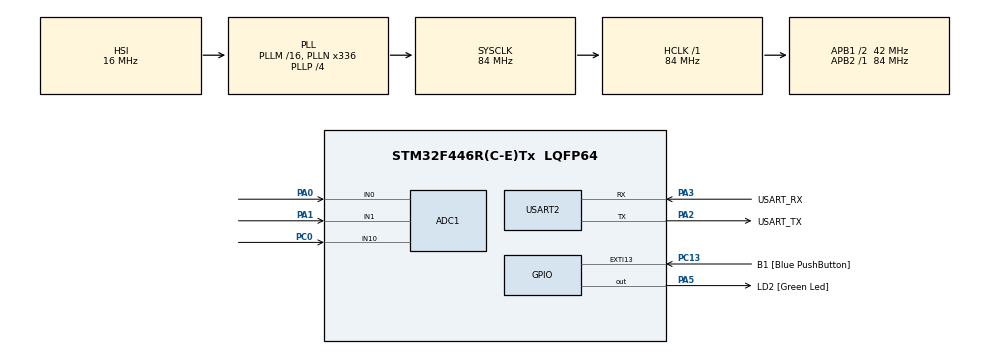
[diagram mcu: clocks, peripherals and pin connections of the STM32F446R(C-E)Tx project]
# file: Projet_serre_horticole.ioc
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ADC1.Channel-0\#ChannelRegularConversion=ADC_CHANNEL_0
ADC1.NbrOfConversionFlag=1
ADC1.Rank-0\#ChannelRegularConversion=1
ADC1.SamplingTime-0\#ChannelRegularConversion=ADC_SAMPLETIME_3CYCLES
ADC1.master=1
Mcu.Family=STM32F4
Mcu.Name=STM32F446R(C-E)Tx
Mcu.Package=LQFP64
NVIC.PriorityGroup=NVIC_PRIORITYGROUP_0
PA0-WKUP.Signal=ADCx_IN0
PA1.Signal=ADCx_IN1
PA13.GPIO_Label=TMS
PA13.Mode=Serial_Wire
PA13.Signal=SYS_JTMS-SWDIO
PA14.GPIO_Label=TCK
PA14.Mode=Serial_Wire
PA14.Signal=SYS_JTCK-SWCLK
PA2.GPIO_Label=USART_TX
PA2.Mode=Asynchronous
PA2.Signal=USART2_TX
PA3.GPIO_Label=USART_RX
PA3.Mode=Asynchronous
PA3.Signal=USART2_RX
PA5.GPIO_Label=LD2 [Green Led]
PA5.Signal=GPIO_Output
PB3.GPIO_Label=SWO
PB3.Signal=SYS_JTDO-SWO
PC0.Signal=ADCx_IN10
PC13.GPIO_Label=B1 [Blue PushButton]
PC13.GPIO_ModeDefaultEXTI=GPIO_MODE_IT_FALLING
PC13.Signal=GPXTI13
PC14-OSC32_IN.Mode=LSE-External-Oscillator
PC14-OSC32_IN.Signal=RCC_OSC32_IN
PC15-OSC32_OUT.Mode=LSE-External-Oscillator
PC15-OSC32_OUT.Signal=RCC_OSC32_OUT
PH0-OSC_IN.Mode=HSE-External-Oscillator
PH0-OSC_IN.Signal=RCC_OSC_IN
PH1-OSC_OUT.Mode=HSE-External-Oscillator
PH1-OSC_OUT.Signal=RCC_OSC_OUT
ProjectManager.HeapSize=0x200
ProjectManager.StackSize=0x400
ProjectManager.TargetToolchain=STM32CubeIDE
RCC.48MHZClocksFreq_Value=84000000
RCC.AHBFreq_Value=84000000
RCC.APB1CLKDivider=RCC_HCLK_DIV2
RCC.APB1Freq_Value=42000000
RCC.APB1TimFreq_Value=84000000
RCC.APB2Freq_Value=84000000
RCC.APB2TimFreq_Value=84000000
RCC.CortexFreq_Value=84000000
RCC.FLatency-AdvancedSettings=FLASH_LATENCY_2
RCC.HCLKFreq_Value=84000000
RCC.HSE_VALUE=8000000
RCC.HSI_VALUE=16000000
RCC.PLLN=336
RCC.PLLP=RCC_PLLP_DIV4
RCC.SYSCLKFreq_VALUE=84000000
RCC.SYSCLKSource=RCC_SYSCLKSOURCE_PLLCLK
RCC.USBFreq_Value=168000000
RCC.VCOOutputFreq_Value=336000000
SH.ADCx_IN0.0=ADC1_IN0,IN0
SH.ADCx_IN1.0=ADC1_IN1,IN1
SH.ADCx_IN10.0=ADC1_IN10,IN10
USART2.VirtualMode=VM_ASYNC
board=NUCLEO-F446RE

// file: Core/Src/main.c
/* USER CODE BEGIN Header */
/**
  ******************************************************************************
  * @file           : main.c
  * @brief          : Main program body
  ******************************************************************************
  * @attention
  *
  * Copyright (c) 2025 STMicroelectronics.
  * All rights reserved.
  *
  * This software is licensed under terms that can be found in the LICENSE file
  * in the root directory of this software component.
  * If no LICENSE file comes with this software, it is provided AS-IS.
  *
  ******************************************************************************
  */
/* USER CODE END Header */
#include "main.h"

ADC_HandleTypeDef hadc1;

UART_HandleTypeDef huart2;

void SystemClock_Config(void);
static void MX_GPIO_Init(void);
static void MX_USART2_UART_Init(void);
static void MX_ADC1_Init(void);

/* USER CODE BEGIN 0 */

#include <stdio.h> // Nécessaire pour printf

// Redéfinition pour envoyer printf vers l'UART2
int __io_putchar(int ch) {
    HAL_UART_Transmit(&huart2, (uint8_t *)&ch, 1, HAL_MAX_DELAY);
    return ch;
}

// Fonction pour lire un canal ADC spécifique
uint32_t Read_ADC_Channel(uint32_t Channel) {
    ADC_ChannelConfTypeDef sConfig = {0};

    sConfig.Channel = Channel;
    sConfig.Rank = 1;
    sConfig.SamplingTime = ADC_SAMPLETIME_84CYCLES; // Temps d'échantillonnage stable

    if (HAL_ADC_ConfigChannel(&hadc1, &sConfig) != HAL_OK) {
        Error_Handler();
    }

    HAL_ADC_Start(&hadc1);
    HAL_ADC_PollForConversion(&hadc1, 100); // Attendre la fin de la conversion
    uint32_t valeur = HAL_ADC_GetValue(&hadc1);
    HAL_ADC_Stop(&hadc1);

    return valeur;
}
/* USER CODE END 0 */

int main(void)
{

  /* MCU Configuration--------------------------------------------------------*/

  /* Reset of all peripherals, Initializes the Flash interface and the Systick. */
  HAL_Init();

  /* Configure the system clock */
  SystemClock_Config();

  /* Initialize all configured peripherals */
  MX_GPIO_Init();
  MX_USART2_UART_Init();
  MX_ADC1_Init();

  /* Infinite loop */
  /* USER CODE BEGIN WHILE */
  while (1)
  {
  // 1. Lecture des valeurs brutes
	uint32_t raw_LDR = Read_ADC_Channel(ADC_CHANNEL_0);
	uint32_t raw_Hum = Read_ADC_Channel(ADC_CHANNEL_1);
	uint32_t raw_Temp = Read_ADC_Channel(ADC_CHANNEL_4);
	uint32_t raw_Press = Read_ADC_Channel(ADC_CHANNEL_10);

	// --- FORMAT CSV ---
	// LDR,HUMIDITE,TEMPERATURE,PRESSION
	// On envoie les 4 valeurs brutes sur une seule ligne.
	printf("%lu,%lu,%lu,%lu\n", raw_LDR, raw_Hum, raw_Temp, raw_Press);

	HAL_Delay(1000); // Mise à jour toutes les secondes

/* USER CODE END WHILE */

  }
}

void SystemClock_Config(void)
{
  RCC_OscInitTypeDef RCC_OscInitStruct = {0};
  RCC_ClkInitTypeDef RCC_ClkInitStruct = {0};

  /** Configure the main internal regulator output voltage
  */
  __HAL_RCC_PWR_CLK_ENABLE();
  __HAL_PWR_VOLTAGESCALING_CONFIG(PWR_REGULATOR_VOLTAGE_SCALE3);

  /** Initializes the RCC Oscillators according to the specified parameters
  * in the RCC_OscInitTypeDef structure.
  */
  RCC_OscInitStruct.OscillatorType = RCC_OSCILLATORTYPE_HSI;
  RCC_OscInitStruct.HSIState = RCC_HSI_ON;
  RCC_OscInitStruct.HSICalibrationValue = RCC_HSICALIBRATION_DEFAULT;
  RCC_OscInitStruct.PLL.PLLState = RCC_PLL_ON;
  RCC_OscInitStruct.PLL.PLLSource = RCC_PLLSOURCE_HSI;
  RCC_OscInitStruct.PLL.PLLM = 16;
  RCC_OscInitStruct.PLL.PLLN = 336;
  RCC_OscInitStruct.PLL.PLLP = RCC_PLLP_DIV4;
  RCC_OscInitStruct.PLL.PLLQ = 2;
  RCC_OscInitStruct.PLL.PLLR = 2;
  if (HAL_RCC_OscConfig(&RCC_OscInitStruct) != HAL_OK)
  {
    Error_Handler();
  }

  /** Initializes the CPU, AHB and APB buses clocks
  */
  RCC_ClkInitStruct.ClockType = RCC_CLOCKTYPE_HCLK|RCC_CLOCKTYPE_SYSCLK
                              |RCC_CLOCKTYPE_PCLK1|RCC_CLOCKTYPE_PCLK2;
  RCC_ClkInitStruct.SYSCLKSource = RCC_SYSCLKSOURCE_PLLCLK;
  RCC_ClkInitStruct.AHBCLKDivider = RCC_SYSCLK_DIV1;
  RCC_ClkInitStruct.APB1CLKDivider = RCC_HCLK_DIV2;
  RCC_ClkInitStruct.APB2CLKDivider = RCC_HCLK_DIV1;

  if (HAL_RCC_ClockConfig(&RCC_ClkInitStruct, FLASH_LATENCY_2) != HAL_OK)
  {
    Error_Handler();
  }
}

static void MX_ADC1_Init(void)
{

  ADC_ChannelConfTypeDef sConfig = {0};

  /** Configure the global features of the ADC (Clock, Resolution, Data Alignment and number of conversion)
  */
  hadc1.Instance = ADC1;
  hadc1.Init.ClockPrescaler = ADC_CLOCK_SYNC_PCLK_DIV4;
  hadc1.Init.Resolution = ADC_RESOLUTION_12B;
  hadc1.Init.ScanConvMode = DISABLE;
  hadc1.Init.ContinuousConvMode = DISABLE;
  hadc1.Init.DiscontinuousConvMode = DISABLE;
  hadc1.Init.ExternalTrigConvEdge = ADC_EXTERNALTRIGCONVEDGE_NONE;
  hadc1.Init.ExternalTrigConv = ADC_SOFTWARE_START;
  hadc1.Init.DataAlign = ADC_DATAALIGN_RIGHT;
  hadc1.Init.NbrOfConversion = 1;
  hadc1.Init.DMAContinuousRequests = DISABLE;
  hadc1.Init.EOCSelection = ADC_EOC_SINGLE_CONV;
  if (HAL_ADC_Init(&hadc1) != HAL_OK)
  {
    Error_Handler();
  }

  /** Configure for the selected ADC regular channel its corresponding rank in the sequencer and its sample time.
  */
  sConfig.Channel = ADC_CHANNEL_0;
  sConfig.Rank = 1;
  sConfig.SamplingTime = ADC_SAMPLETIME_3CYCLES;
  if (HAL_ADC_ConfigChannel(&hadc1, &sConfig) != HAL_OK)
  {
    Error_Handler();
  }

}

static void MX_USART2_UART_Init(void)
{

  huart2.Instance = USART2;
  huart2.Init.BaudRate = 115200;
  huart2.Init.WordLength = UART_WORDLENGTH_8B;
  huart2.Init.StopBits = UART_STOPBITS_1;
  huart2.Init.Parity = UART_PARITY_NONE;
  huart2.Init.Mode = UART_MODE_TX_RX;
  huart2.Init.HwFlowCtl = UART_HWCONTROL_NONE;
  huart2.Init.OverSampling = UART_OVERSAMPLING_16;
  if (HAL_UART_Init(&huart2) != HAL_OK)
  {
    Error_Handler();
  }

}

static void MX_GPIO_Init(void)
{
  GPIO_InitTypeDef GPIO_InitStruct = {0};

  /* GPIO Ports Clock Enable */
  __HAL_RCC_GPIOC_CLK_ENABLE();
  __HAL_RCC_GPIOH_CLK_ENABLE();
  __HAL_RCC_GPIOA_CLK_ENABLE();
  __HAL_RCC_GPIOB_CLK_ENABLE();

  /*Configure GPIO pin Output Level */
  HAL_GPIO_WritePin(LD2_GPIO_Port, LD2_Pin, GPIO_PIN_RESET);

  /*Configure GPIO pin : B1_Pin */
  GPIO_InitStruct.Pin = B1_Pin;
  GPIO_InitStruct.Mode = GPIO_MODE_IT_FALLING;
  GPIO_InitStruct.Pull = GPIO_NOPULL;
  HAL_GPIO_Init(B1_GPIO_Port, &GPIO_InitStruct);

  /*Configure GPIO pin : LD2_Pin */
  GPIO_InitStruct.Pin = LD2_Pin;
  GPIO_InitStruct.Mode = GPIO_MODE_OUTPUT_PP;
  GPIO_InitStruct.Pull = GPIO_NOPULL;
  GPIO_InitStruct.Speed = GPIO_SPEED_FREQ_LOW;
  HAL_GPIO_Init(LD2_GPIO_Port, &GPIO_InitStruct);

}

void Error_Handler(void)
{
  __disable_irq();
  while (1)
  {
  }
}
